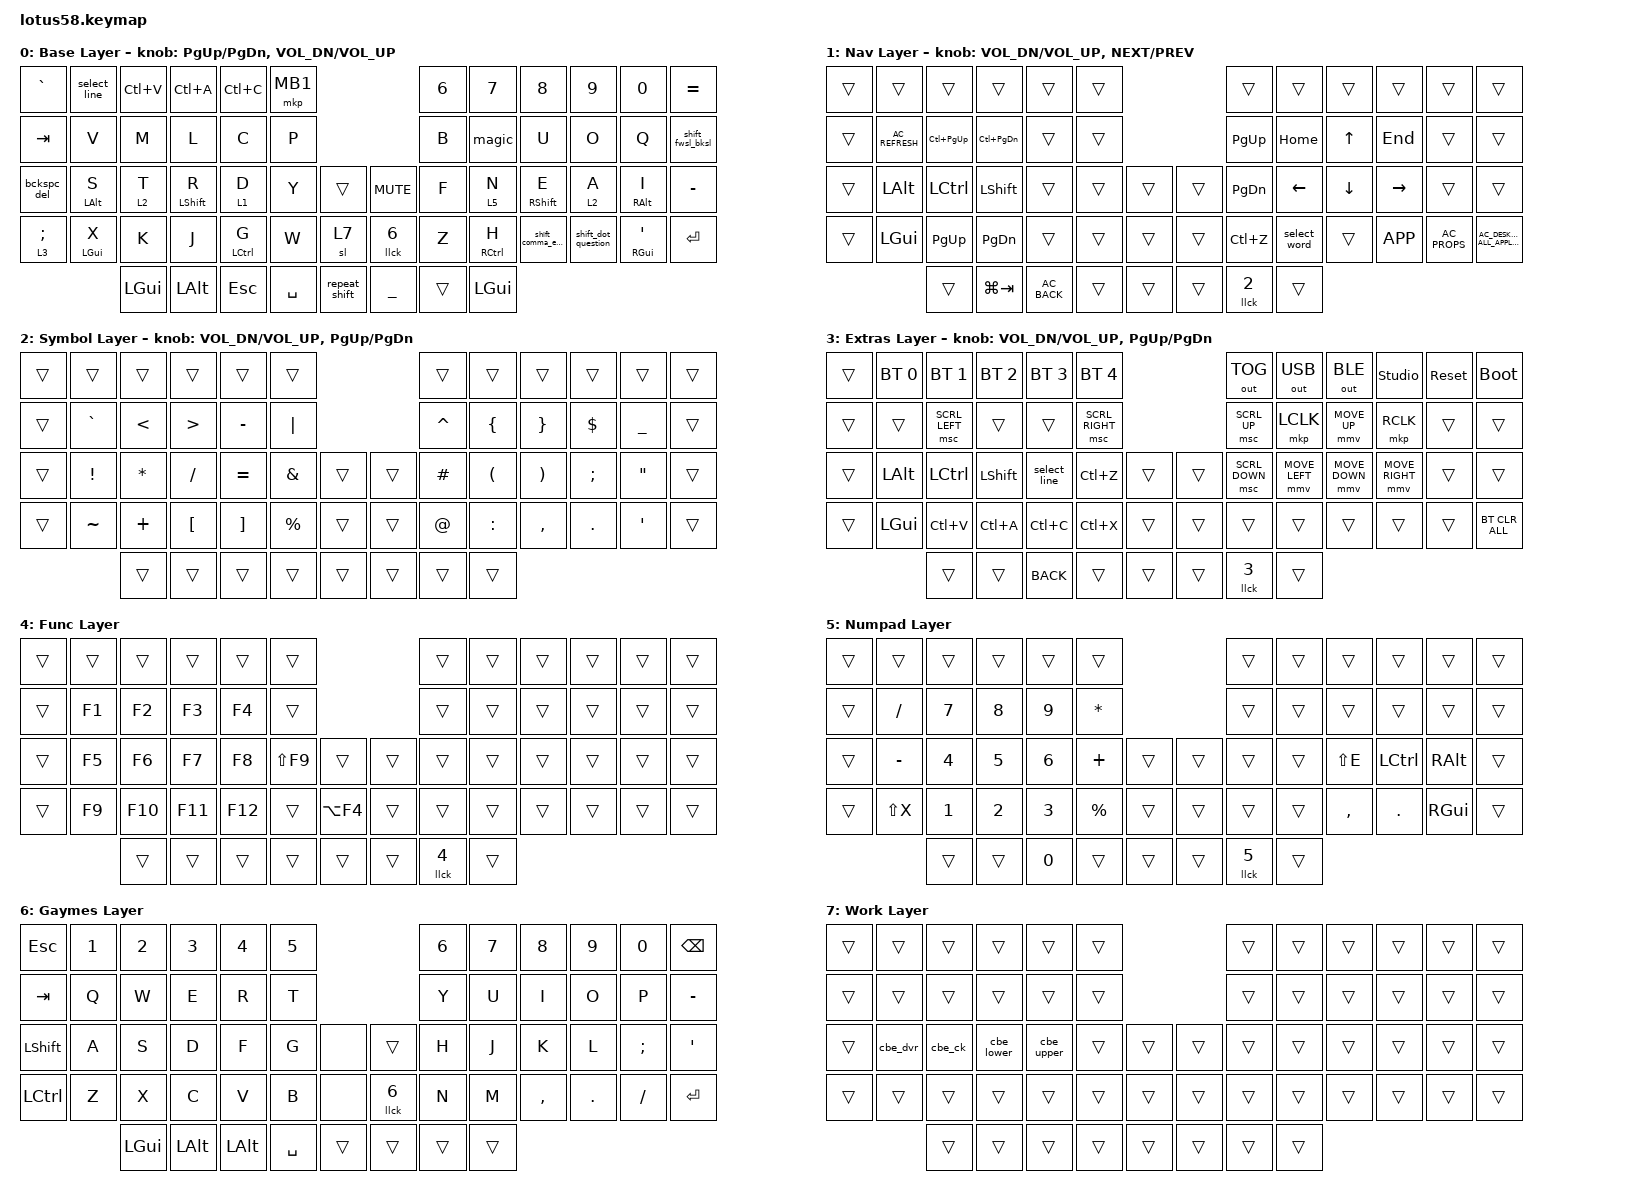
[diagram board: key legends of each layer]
/*
 * Copyright (c) 2022 The ZMK Contributors
 *
 * SPDX-License-Identifier: MIT


 */

#include <behaviors.dtsi>
#include <dt-bindings/zmk/bt.h>
#include <dt-bindings/zmk/keys.h>
#include <dt-bindings/zmk/outputs.h>
#include <dt-bindings/zmk/pointing.h>

/*
// Encoders

&sensors { triggers-per-rotation = <30>; };

&left_encoder { steps = <60>; };

&right_encoder { steps = <60>; };
*/

/ {
    combos {
        compatible = "zmk,combos";

        funcy {
            bindings = <&sl 4>;
            key-positions = <28 29>;
        };

        caps_word {
            bindings = <&caps_word>;
            key-positions = <41 48>;
        };
    };

    behaviors {
        magic: magic {
            compatible = "zmk,behavior-adaptive-key";
            #binding-cells = <0>;
            bindings = <&none>;

            ao {
                trigger-keys = <A>;
                bindings = <&kp O>;
            };

            cy {
                trigger-keys = <C>;
                bindings = <&kp Y>;
            };

            dy {
                trigger-keys = <D>;
                bindings = <&kp Y>;
            };

            eu {
                trigger-keys = <E>;
                bindings = <&kp U>;
            };

            gy {
                trigger-keys = <G>;
                bindings = <&kp Y>;
            };

            ion {
                trigger-keys = <I>;
                bindings = <&kp O &kp N>;
            };

            lk {
                trigger-keys = <L>;
                bindings = <&kp K>;
            };

            ment {
                trigger-keys = <M>;
                bindings = <&kp E &kp N &kp T>;
            };

            nion {
                trigger-keys = <N>;
                bindings = <&kp I &kp O &kp N>;
            };

            oa {
                trigger-keys = <O>;
                bindings = <&kp A>;
            };

            py {
                trigger-keys = <P>;
                bindings = <&kp Y>;
            };

            quen {
                trigger-keys = <Q>;
                bindings = <&kp U &kp E &kp N>;
            };

            rl {
                trigger-keys = <R>;
                bindings = <&kp L>;
            };

            sk {
                trigger-keys = <S>;
                bindings = <&kp K>;
            };

            tment {
                trigger-keys = <T>;
                bindings = <&kp M &kp E &kp N &kp T>;
            };

            ue {
                trigger-keys = <U>;
                bindings = <&kp E>;
            };

            yp {
                trigger-keys = <Y>;
                bindings = <&kp P>;
            };

            the {
                trigger-keys = <SPACE>;
                bindings = <&kp T &kp H &kp E>;
            };
        };

        repeat_shift: repeat_shift {
            compatible = "zmk,behavior-adaptive-key";
            #binding-cells = <0>;
            bindings = <&key_repeat>;

            one_shot_shift {
                trigger-keys = <SPACE>;
                bindings = <&sk LSHFT>;
                max-prior-idle-ms = <500>;
            };
        };

      
        bckspc_del: bckspc_del {
            compatible = "zmk,behavior-mod-morph";
            bindings = <&kp BACKSPACE>, <&kp DEL>;

            #binding-cells = <0>;
            mods = <(MOD_LSFT|MOD_RSFT)>;
        };

        hml: homerow_mod_left {
            compatible = "zmk,behavior-hold-tap";
            label = "HML";
            bindings = <&kp>, <&kp>;

            #binding-cells = <2>;
            tapping-term-ms = <200>;
            quick-tap-ms = <175>;
            require-prior-idle-ms = <110>;
            flavor = "balanced";
            hold-trigger-key-positions = <0 1 2 3 4 5 6 7 8 9 10 11 18 19 20 21 22 23 32 33 34 35 36 37 46 47 48 49 50 51 52 53 54 55 56 57 58 59 30 31 32 44 45 46 12 24 38>;
            hold-trigger-on-release;
        };

        hmr: homerow_mod_right {
            compatible = "zmk,behavior-hold-tap";
            label = "HMR";
            bindings = <&kp>, <&kp>;

            #binding-cells = <2>;
            tapping-term-ms = <200>;
            quick-tap-ms = <175>;
            require-prior-idle-ms = <110>;
            flavor = "balanced";
            hold-trigger-on-release;
            hold-trigger-key-positions = <0 1 2 3 4 5 12 13 14 15 16 17 24 25 26 27 28 29 38 39 40 41 42 43 52 53 54 30 31 44 45 55 56 6 7 8 9 10 11 11 23 37 51 57 58 59>;
        };

        hmll: homerow_mod_layer_left {
            compatible = "zmk,behavior-hold-tap";
            label = "HMLL";
            bindings = <&mo>, <&kp>;

            #binding-cells = <2>;
            tapping-term-ms = <200>;
            quick-tap-ms = <175>;
            require-prior-idle-ms = <110>;
            flavor = "balanced";
            hold-trigger-key-positions = <0 1 2 3 4 5 6 7 8 9 10 11 18 19 20 21 22 23 32 33 34 35 36 37 46 47 48 49 50 51 52 53 54 55 56 57 58 59 30 31 32 44 45 46 12 24 38>;
            hold-trigger-on-release;
        };

        hmlr: homerow_mod_layer_right {
            compatible = "zmk,behavior-hold-tap";
            label = "HMLR";
            bindings = <&mo>, <&kp>;

            #binding-cells = <2>;
            tapping-term-ms = <200>;
            quick-tap-ms = <175>;
            require-prior-idle-ms = <110>;
            flavor = "balanced";
            hold-trigger-key-positions = <0 1 2 3 4 5 6 7 8 9 10 11 23 37 51 52 53 54 55 56 57 58 59 30 31 44 45 12 24 38 13 14 15 16 17 25 26 27 28 29 39 40 41 42 43>;
            hold-trigger-on-release;
        };

        llck: layer_lock {
            compatible = "zmk,behavior-toggle-layer";
            label = "LLCK";
            #binding-cells = <1>;
            toggle-mode = "flip";
            locking;
        };

        shift_dot_question: shift_dot_question {
            compatible = "zmk,behavior-mod-morph";
            bindings = <&kp DOT>, <&kp QUESTION>;

            #binding-cells = <0>;
            mods = <(MOD_LSFT|MOD_RSFT)>;
        };

        shift_comma_excl: shift_comma_excl {
            compatible = "zmk,behavior-mod-morph";
            bindings = <&kp COMMA>, <&kp EXCL>;

            #binding-cells = <0>;
            mods = <(MOD_LSFT|MOD_RSFT)>;
        };

        shift_coln_scln: shift_coln_scln {
            compatible = "zmk,behavior-mod-morph";
            bindings = <&kp COLON>, <&kp SEMI>;

            #binding-cells = <0>;
            mods = <(MOD_LSFT|MOD_RSFT)>;
        };

        shift_fwsl_bksl: shift_forwardslash_backslash {
            compatible = "zmk,behavior-mod-morph";
            bindings = <&kp SLASH>, <&kp BACKSLASH>;

            #binding-cells = <0>;
            mods = <(MOD_LSFT|MOD_RSFT)>;
        };
    };

    macros {
        select_line: select_line {
            compatible = "zmk,behavior-macro";
            #binding-cells = <0>;
            bindings =
                <&macro_tap>,
                <&kp HOME>,
                <&macro_press>,
                <&kp LEFT_SHIFT>,
                <&macro_tap>,
                <&kp END>,
                <&macro_release>,
                <&kp LEFT_SHIFT>;

            label = "SELECT_LINE";
        };

        select_word: select_word {
            compatible = "zmk,behavior-macro";
            #binding-cells = <0>;
            bindings = <&kp LC(LEFT) &kp LC(LS(RIGHT))>;
            label = "SELECT_WORD";
        };

        cbe_lower: cbe_lower {
            compatible = "zmk,behavior-macro";
            #binding-cells = <0>;
            bindings = <&kp C &kp B &kp E &kp N2 &kp N6 &kp N5 &kp N8 &kp N9 &kp N0 &kp N3>;
            label = "CBE_LOWER";
        };

        cbe_upper: cbe_upper {
            compatible = "zmk,behavior-macro";
            #binding-cells = <0>;
            bindings = <&kp LS(C) &kp B &kp E &kp EXCL &kp N2 &kp N6 &kp N5 &kp N8 &kp N9 &kp N0 &kp N3>;
            label = "CBE_UPPER";
        };

        cbe_dvr: cbe_dvr {
            compatible = "zmk,behavior-macro";
            #binding-cells = <0>;
            bindings = <&kp DLLR &kp I &kp D &kp E &kp O &kp N2 &kp N3>;
            label = "CBE_DVR";
        };

        cbe_ck: cbe_ck {
            compatible = "zmk,behavior-macro";
            #binding-cells = <0>;
            bindings = <&kp C &kp B &kp E &kp LS(V) &kp N1 &kp D &kp E &kp O>;
            label = "CBE_CK";
        };
    };

    keymap {
        compatible = "zmk,keymap";

        base_layer {
            display-name = "Base Layer";
            bindings = <
                &kp GRAVE     &select_line  &kp LC(V)  &kp LC(A)     &kp LC(C)     &mkp MB1                          &kp N6          &kp N7        &kp N8             &kp N9               &kp N0                  &kp EQUAL
                &kp TAB       &kp V         &kp M      &kp L         &kp C         &kp P                             &kp B           &magic        &kp U              &kp O                &kp Q                   &shift_fwsl_bksl
                &bckspc_del   &hml LALT S   &hmll 2 T  &hml LSHFT R  &hmll 1 D     &kp Y     &trans     &kp C_MUTE   &kp F           &hmlr 5 N     &hmr RSHFT E       &hmlr 2 A            &hmr RIGHT_ALT I        &kp MINUS
                &hmll 3 SEMI  &hml LGUI X   &kp K      &kp J         &hml LCTRL G  &kp W     &sl 7      &llck 6      &kp Z           &hmr RCTRL H  &shift_comma_excl  &shift_dot_question  &hmr RGUI SINGLE_QUOTE  &kp RET
                                       &kp LGUI      &kp LEFT_ALT  &kp ESC   &kp SPACE  &repeat_shift  &kp UNDERSCORE  &trans        &kp LEFT_GUI
            >;

            sensor-bindings =
                <&inc_dec_kp PG_UP PG_DN>,
                <&inc_dec_kp C_VOL_DN C_VOL_UP>;
        };

        nav_layer {
            display-name = "Nav Layer";


            bindings = <
                &trans  &trans            &trans           &trans             &trans       &trans                         &trans       &trans        &trans    &trans     &trans          &trans
                &trans  &kp C_AC_REFRESH  &kp LC(PAGE_UP)  &kp LC(PAGE_DOWN)  &trans       &trans                         &kp PAGE_UP  &kp HOME      &kp UP    &kp END    &trans          &trans
                &trans  &kp LEFT_ALT      &kp LCTRL        &kp LEFT_SHIFT     &trans       &trans         &trans  &trans  &kp PG_DN    &kp LEFT      &kp DOWN  &kp RIGHT  &trans          &trans
                &trans  &kp LEFT_GUI      &kp PAGE_UP      &kp PAGE_DOWN      &trans       &trans         &trans  &trans  &kp LC(Z)    &select_word  &trans    &kp K_APP  &kp C_AC_PROPS  &kp C_AC_DESKTOP_SHOW_ALL_APPLICATIONS
                                           &trans             &kp LG(TAB)  &kp C_AC_BACK  &trans  &trans  &trans       &llck 2       &trans
            >;

            sensor-bindings = <&inc_dec_kp C_VOL_DN C_VOL_UP &inc_dec_kp C_NEXT C_PREV>;
        };

        symbol_layer {
            display-name = "Symbol Layer";


            bindings = <
                &trans  &trans           &trans         &trans            &trans             &trans                         &trans     &trans                &trans                 &trans      &trans             &trans
                &trans  &kp GRAVE        &kp LESS_THAN  &kp GREATER_THAN  &kp MINUS          &kp PIPE                       &kp CARET  &kp LEFT_BRACE        &kp RIGHT_BRACE        &kp DOLLAR  &kp UNDERSCORE     &trans
                &trans  &kp EXCLAMATION  &kp ASTERISK   &kp SLASH         &kp EQUAL          &kp AMPERSAND  &trans  &trans  &kp POUND  &kp LEFT_PARENTHESIS  &kp RIGHT_PARENTHESIS  &kp SEMI    &kp DOUBLE_QUOTES  &trans
                &trans  &kp TILDE        &kp PLUS       &kp LEFT_BRACKET  &kp RIGHT_BRACKET  &kp PERCENT    &trans  &trans  &kp AT     &kp COLON             &kp COMMA              &kp PERIOD  &kp SINGLE_QUOTE   &trans
                                        &trans            &trans             &trans         &trans  &trans  &trans     &trans                &trans
            >;

            sensor-bindings = <&inc_dec_kp C_VOL_DN C_VOL_UP &inc_dec_kp PG_UP PG_DN>;
        };

        extras_layer {
            display-name = "Extras Layer";
            bindings = <
                &trans  &bt BT_SEL 0  &bt BT_SEL 1    &bt BT_SEL 2  &bt BT_SEL 3  &bt BT_SEL 4                     &out OUT_TOG    &out OUT_USB    &out OUT_BLE    &studio_unlock   &sys_reset  &bootloader
                &trans  &trans        &msc SCRL_LEFT  &trans        &trans        &msc SCRL_RIGHT                  &msc SCRL_UP    &mkp LCLK       &mmv MOVE_UP    &mkp RCLK        &trans      &trans
                &trans  &kp LALT      &kp LCTRL       &kp LSHFT     &select_line  &kp LC(Z)        &trans  &trans  &msc SCRL_DOWN  &mmv MOVE_LEFT  &mmv MOVE_DOWN  &mmv MOVE_RIGHT  &trans      &trans
                &trans  &kp LGUI      &kp LC(V)       &kp LC(A)     &kp LC(C)     &kp LC(X)        &trans  &trans  &trans          &trans          &trans          &trans           &trans      &bt BT_CLR_ALL
                                      &trans        &trans        &kp K_BACK       &trans  &trans  &trans          &llck 3         &trans
            >;

            sensor-bindings =
                <&inc_dec_kp C_VOL_DN C_VOL_UP>,
                <&inc_dec_kp PG_UP PG_DN>;
        };

        func_layer {
            bindings = <
                &trans  &trans  &trans   &trans   &trans   &trans                          &trans  &trans   &trans  &trans  &trans  &trans
                &trans  &kp F1  &kp F2   &kp F3   &kp F4   &trans                          &trans  &trans   &trans  &trans  &trans  &trans
                &trans  &kp F5  &kp F6   &kp F7   &kp F8   &kp LS(F9)  &trans      &trans  &trans  &trans   &trans  &trans  &trans  &trans
                &trans  &kp F9  &kp F10  &kp F11  &kp F12  &trans      &kp LA(F4)  &trans  &trans  &trans   &trans  &trans  &trans  &trans
                         &trans   &trans   &trans      &trans      &trans  &trans  &llck 4  &trans
            >;

            label = "Func Layer";
        };

        numpad_layer {
            bindings = <
                &trans  &trans     &trans        &trans        &trans        &trans                       &trans  &trans   &trans     &trans            &trans         &trans
                &trans  &kp SLASH  &kp N7        &kp NUMBER_8  &kp NUMBER_9  &kp ASTRK                    &trans  &trans   &trans     &trans            &trans         &trans
                &trans  &kp MINUS  &kp NUMBER_4  &kp NUMBER_5  &kp NUMBER_6  &kp PLUS     &trans  &trans  &trans  &trans   &kp LS(E)  &kp LEFT_CONTROL  &kp RIGHT_ALT  &trans
                &trans  &kp LS(X)  &kp NUMBER_1  &kp NUMBER_2  &kp NUMBER_3  &kp PERCENT  &trans  &trans  &trans  &trans   &kp COMMA  &kp PERIOD        &kp RIGHT_GUI  &trans
                                                &trans        &trans        &kp N0       &trans  &trans  &trans  &llck 5  &trans
            >;

            label = "Numpad Layer";
        };

        games_layer {
            bindings = <
                &kp ESC    &kp N1  &kp N2  &kp N3        &kp N4        &kp N5                            &kp N6  &kp N7  &kp N8     &kp N9   &kp N0    &kp BACKSPACE
                &kp TAB    &kp Q   &kp W   &kp E         &kp R         &kp T                             &kp Y   &kp U   &kp I      &kp O    &kp P     &kp MINUS
                &kp LSHFT  &kp A   &kp S   &kp D         &kp F         &kp G         &none      &trans   &kp H   &kp J   &kp K      &kp L    &kp SEMI  &kp APOS
                &kp LCTRL  &kp Z   &kp X   &kp C         &kp V         &kp B         &none      &llck 6  &kp N   &kp M   &kp COMMA  &kp DOT  &kp FSLH  &kp ENTER
                                        &kp LEFT_GUI  &kp LEFT_ALT  &kp LEFT_ALT  &kp SPACE  &trans   &trans  &trans  &trans
            >;

            label = "Gaymes Layer";
        };

        work_layer {
            bindings = <
                &trans  &trans    &trans   &trans      &trans      &trans                  &trans  &trans  &trans  &trans  &trans  &trans
                &trans  &trans    &trans   &trans      &trans      &trans                  &trans  &trans  &trans  &trans  &trans  &trans
                &trans  &cbe_dvr  &cbe_ck  &cbe_lower  &cbe_upper  &trans  &trans  &trans  &trans  &trans  &trans  &trans  &trans  &trans
                &trans  &trans    &trans   &trans      &trans      &trans  &trans  &trans  &trans  &trans  &trans  &trans  &trans  &trans
                                        &trans      &trans      &trans  &trans  &trans  &trans  &trans  &trans
            >;

            label = "Work Layer";
        };
    };

};
